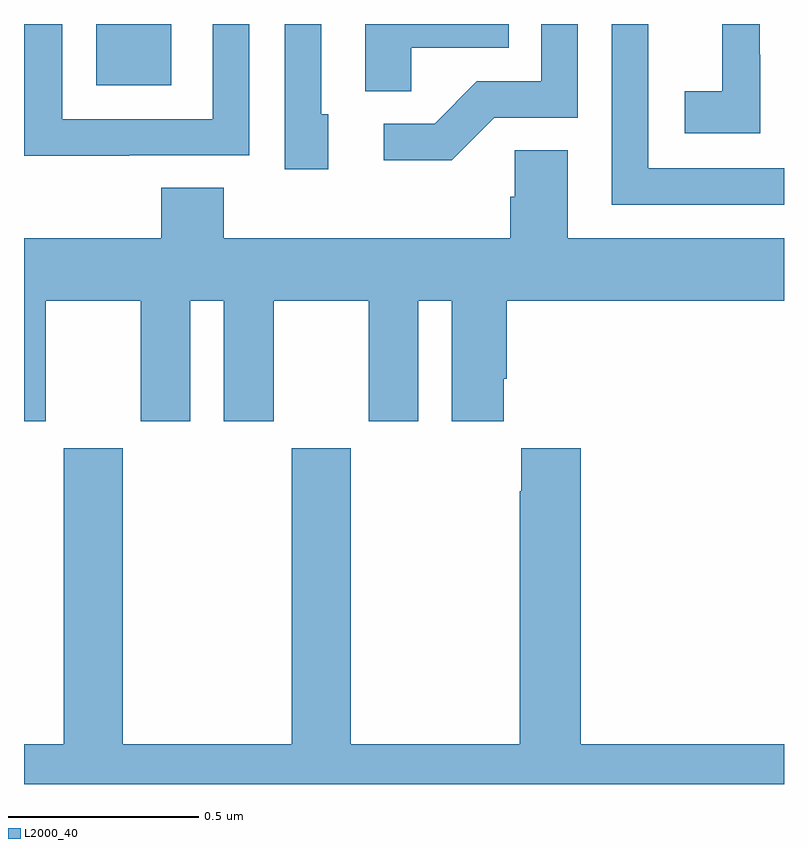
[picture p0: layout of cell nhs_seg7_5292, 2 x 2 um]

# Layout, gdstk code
import gdstk
lib = gdstk.Library(unit=1e-6, precision=1e-09)
def R(c, l, rs):  # rectangles x0, y0, x1, y1
    for r in rs: c.add(gdstk.rectangle(r[:2], r[2:], *l))
def P(c, l, *ps):  # polygons
    for p in ps: c.add(gdstk.Polygon(p, *l))
L2000_40 = (2000, 40)

nhs_seg7_5292 = lib.new_cell('nhs_seg7_5292')
R(nhs_seg7_5292, L2000_40, [(184.19,1011.839,184.387,1012)])
P(nhs_seg7_5292, L2000_40, [(185.238,1011.753),(185.457,1011.753),(185.457,1012),(185.361,1012),(185.361,1011.849),(185.192,1011.849),(185.081,1011.738),(184.947,1011.738),(184.947,1011.641),(185.125,1011.641)],
  [(184.277,1011.654),(184.593,1011.654),(184.593,1012),(184.497,1012),(184.497,1011.75),(184.101,1011.75),(184.101,1012),(184,1012),(184,1011.653),(184.277,1011.653)],
  [(185.019,1011.938),(185.276,1011.938),(185.276,1012),(184.898,1012),(184.898,1011.823),(185.019,1011.823)],
  [(186,1011.621),(185.643,1011.621),(185.643,1012),(185.547,1012),(185.547,1011.525),(186,1011.525)],
  [(184.801,1011.762),(184.782,1011.762),(184.782,1012),(184.686,1012),(184.686,1011.618),(184.801,1011.618)],
  [(185.937,1011.919),(185.936,1011.919),(185.936,1012),(185.837,1012),(185.837,1011.823),(185.739,1011.823),(185.739,1011.713),(185.937,1011.713)],
  [(184,1010.955),(184.057,1010.955),(184.057,1011.272),(184.307,1011.272),(184.307,1010.955),(184.438,1010.955),(184.438,1011.272),(184.526,1011.272),(184.526,1010.955),(184.657,1010.955),(184.657,1011.272),(184.907,1011.272),(184.907,1010.955),(185.038,1010.955),(185.038,1011.272),(185.126,1011.272),(185.126,1010.955),(185.263,1010.955),(185.263,1011.067),(185.27,1011.067),(185.27,1011.272),(186,1011.272),(186,1011.436),(185.431,1011.436),(185.431,1011.668),(185.292,1011.668),(185.292,1011.545),(185.279,1011.545),(185.279,1011.436),(184.526,1011.436),(184.526,1011.569),(184.361,1011.569),(184.361,1011.436),(184,1011.436)],
  [(186,1010.104),(185.465,1010.104),(185.465,1010.884),(185.309,1010.884),(185.309,1010.771),(185.305,1010.771),(185.305,1010.104),(184.86,1010.104),(184.86,1010.884),(184.705,1010.884),(184.705,1010.104),(184.26,1010.104),(184.26,1010.884),(184.105,1010.884),(184.105,1010.104),(184,1010.104),(184,1010),(186,1010)])

lib.write_gds('nhs_seg7_5292.gds')
